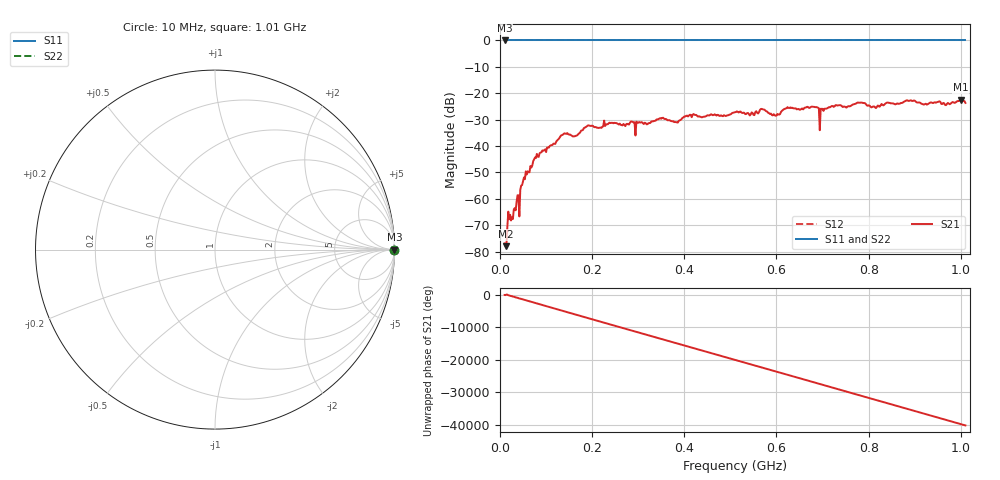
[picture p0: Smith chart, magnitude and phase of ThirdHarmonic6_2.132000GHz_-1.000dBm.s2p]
! 8/17/2025 1:28:44 AM
! C:\ANRITSUVNA\TEMP\TEMP.S2P
! CHANNEL.1
! TR.MEASUREMENT
! RAW.DATA
! RF.CORRECTION.OFF
! AVERAGING.OFF
! IF.BANDWIDTH: 5KHZ
! SWEEPTYPE:  FREQ.SWEEP(Linear)
! Reference Plane Port Info
! PORT:  PORT1  PORT2
! DISTANCE:  0  m  0  m
! TIME:  0  s  0  s
! PHASE.OFFSET:  0  deg.  0  deg.
! LOSS:  0  dB  0  dB
! REF.LOSS:  0  dB  0  dB
! REF.FREQ:  0  Hz  0  Hz
! Power Info
! POWER:  -20  dBm  -20  dBm
! EFF.POWER:  -20  dBm  -20  dBm
! SOURCE.ATTEN:  0  dB  0  dB
! TEST.ATTEN:  0  dB  0  dB
# GHZ S RI R 50.0
! FREQ.GHZ  S11RE  S11IM  S21RE  S21IM  S12RE  S12IM  S22RE  S22IM
!; PortSelection: Port_12
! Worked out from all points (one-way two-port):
!   501 points, 10 MHz to 1.01 GHz, reference 50 ohm
!   highest |S21| = -22.47 dB at 1 GHz (marker M1); lowest = -78.0 dB at 12 MHz (marker M2)
!   lowest |S11| = 0.0 dB at 10 MHz (marker M3)
!   |S11| at or under -10 dB: nowhere
!   |S22| runs from 0.0 to 0.0 dB; largest |S21 - S12| = 1.1
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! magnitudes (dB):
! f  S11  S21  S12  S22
! 10 MHz  0.0  -76.9  0.0  0.0
! 12 MHz  0.0  -78.0  0.0  0.0
! 20 MHz  0.0  -67.8  0.0  0.0
! 38 MHz  0.0  -58.7  0.0  0.0
! 52 MHz  0.0  -51.9  0.0  0.0
! 76 MHz  0.0  -44.3  0.0  0.0
! 136 MHz  0.0  -35.8  0.0  0.0
! 162 MHz  0.0  -36.3  0.0  0.0
! 178 MHz  0.0  -34.0  0.0  0.0
! 344 MHz  0.0  -29.8  0.0  0.0
! 382 MHz  0.0  -30.9  0.0  0.0
! 410 MHz  0.0  -28.5  0.0  0.0
! 510 MHz  0.0  -27.1  0.0  0.0
! 570 MHz  0.0  -26.1  0.0  0.0
! 596 MHz  0.0  -28.4  0.0  0.0
! 622 MHz  0.0  -25.6  0.0  0.0
! 678 MHz  0.0  -25.1  0.0  0.0
! 698 MHz  0.0  -25.9  0.0  0.0
! 732 MHz  0.0  -24.7  0.0  0.0
! 844 MHz  0.0  -23.6  0.0  0.0
! 1 GHz  0.0  -22.5  0.0  0.0
! 1.01 GHz  0.0  -23.7  0.0  0.0
